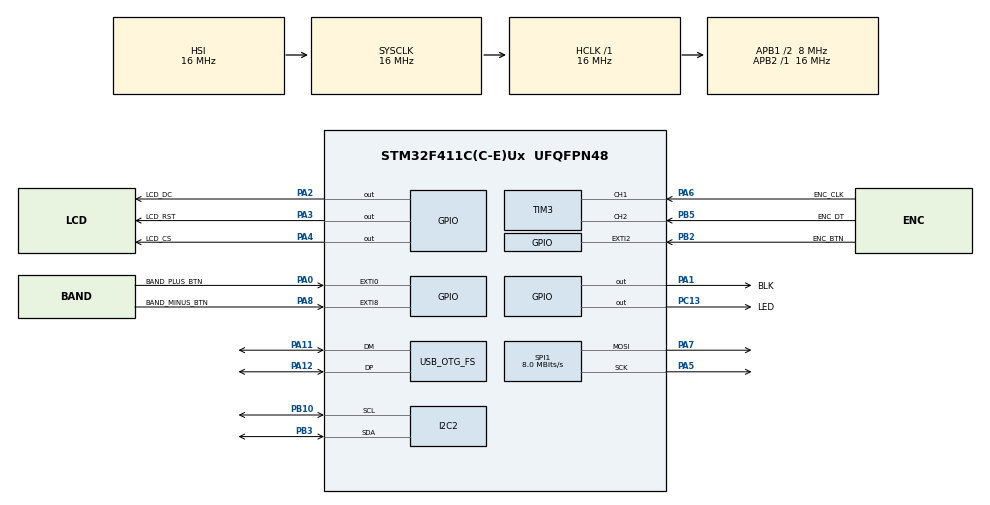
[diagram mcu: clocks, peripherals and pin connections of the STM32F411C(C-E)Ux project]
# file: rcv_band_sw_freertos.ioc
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FREERTOS.INCLUDE_vTaskCleanUpResources=1
FREERTOS.INCLUDE_vTaskDelete=1
FREERTOS.Tasks01=defaultTask,8,128,StartDefaultTask,Default,NULL,Dynamic,NULL,NULL;encoderTask,24,128,StartEncoderTask,Default,NULL,Dynamic,NULL,NULL;buttonsTask,8,128,StartButtonsTask,Default,NULL,Dynamic,NULL,NULL
FREERTOS.configENABLE_FPU=1
FREERTOS.configGENERATE_RUN_TIME_STATS=1
FREERTOS.configTOTAL_HEAP_SIZE=102400
FREERTOS.configUSE_IDLE_HOOK=1
FREERTOS.configUSE_NEWLIB_REENTRANT=1
FREERTOS.configUSE_STATS_FORMATTING_FUNCTIONS=1
I2C2.I2C_Mode=I2C_Fast
Mcu.Family=STM32F4
Mcu.Name=STM32F411C(C-E)Ux
Mcu.Package=UFQFPN48
NVIC.EXTI0_IRQn=true\:5\:0\:false\:false\:true\:false\:true\:true\:true
NVIC.EXTI2_IRQn=true\:5\:0\:false\:false\:true\:true\:true\:true\:true
NVIC.EXTI9_5_IRQn=true\:5\:0\:false\:false\:true\:true\:true\:true\:true
NVIC.OTG_FS_IRQn=true\:5\:0\:false\:false\:true\:true\:false\:true\:true
NVIC.PriorityGroup=NVIC_PRIORITYGROUP_4
NVIC.TIM2_IRQn=true\:15\:0\:false\:false\:true\:false\:false\:true\:true
NVIC.TIM3_IRQn=true\:5\:0\:false\:false\:true\:true\:true\:true\:true
NVIC.TimeBase=TIM2_IRQn
NVIC.TimeBaseIP=TIM2
PA0-WKUP.GPIO_Label=BAND_PLUS_BTN
PA0-WKUP.GPIO_PuPd=GPIO_PULLUP
PA0-WKUP.Signal=GPXTI0
PA1.GPIO_Label=BLK
PA1.GPIO_PuPd=GPIO_PULLUP
PA1.PinState=GPIO_PIN_SET
PA1.Signal=GPIO_Output
PA11.Mode=Device_Only
PA11.Signal=USB_OTG_FS_DM
PA12.Mode=Device_Only
PA12.Signal=USB_OTG_FS_DP
PA13.Mode=Serial_Wire
PA13.Signal=SYS_JTMS-SWDIO
PA14.Mode=Serial_Wire
PA14.Signal=SYS_JTCK-SWCLK
PA2.GPIO_Label=LCD_DC
PA2.GPIO_Speed=GPIO_SPEED_FREQ_VERY_HIGH
PA2.Signal=GPIO_Output
PA3.GPIO_Label=LCD_RST
PA3.GPIO_Speed=GPIO_SPEED_FREQ_VERY_HIGH
PA3.Signal=GPIO_Output
PA4.GPIO_Label=LCD_CS
PA4.GPIO_Speed=GPIO_SPEED_FREQ_VERY_HIGH
PA4.Signal=GPIO_Output
PA5.Mode=TX_Only_Simplex_Unidirect_Master
PA5.Signal=SPI1_SCK
PA6.GPIO_Label=ENC_CLK
PA6.GPIO_PuPd=GPIO_PULLUP
PA6.GPIO_Speed=GPIO_SPEED_FREQ_VERY_HIGH
PA6.Signal=S_TIM3_CH1
PA7.Mode=TX_Only_Simplex_Unidirect_Master
PA7.Signal=SPI1_MOSI
PA8.GPIO_Label=BAND_MINUS_BTN
PA8.GPIO_PuPd=GPIO_PULLUP
PA8.Signal=GPXTI8
PB10.Mode=I2C
PB10.Signal=I2C2_SCL
PB2.GPIO_Label=ENC_BTN
PB2.GPIO_PuPd=GPIO_PULLUP
PB2.Signal=GPXTI2
PB3.Mode=I2C
PB3.Signal=I2C2_SDA
PB5.GPIO_Label=ENC_DT
PB5.GPIO_PuPd=GPIO_PULLUP
PB5.GPIO_Speed=GPIO_SPEED_FREQ_VERY_HIGH
PB5.Signal=S_TIM3_CH2
PC13-ANTI_TAMP.GPIO_Label=LED
PC13-ANTI_TAMP.GPIO_PuPd=GPIO_PULLDOWN
PC13-ANTI_TAMP.Signal=GPIO_Output
PC14-OSC32_IN.Mode=LSE-External-Oscillator
PC14-OSC32_IN.Signal=RCC_OSC32_IN
PC15-OSC32_OUT.Mode=LSE-External-Oscillator
PC15-OSC32_OUT.Signal=RCC_OSC32_OUT
PH0\ -\ OSC_IN.Mode=HSE-External-Oscillator
PH0\ -\ OSC_IN.Signal=RCC_OSC_IN
PH1\ -\ OSC_OUT.Mode=HSE-External-Oscillator
PH1\ -\ OSC_OUT.Signal=RCC_OSC_OUT
ProjectManager.HeapSize=0x600
ProjectManager.StackSize=0x800
ProjectManager.TargetToolchain=STM32CubeIDE
RCC.48MHZClocksFreq_Value=48000000
RCC.AHBFreq_Value=16000000
RCC.APB1CLKDivider=RCC_HCLK_DIV2
RCC.APB1Freq_Value=8000000
RCC.APB1TimFreq_Value=16000000
RCC.APB2Freq_Value=16000000
RCC.APB2TimFreq_Value=16000000
RCC.CortexFreq_Value=16000000
RCC.HCLKFreq_Value=16000000
RCC.HSE_VALUE=25000000
RCC.HSI_VALUE=16000000
RCC.PLLM=15
RCC.PLLN=144
RCC.PLLP=RCC_PLLP_DIV6
RCC.PLLQ=5
RCC.RCC_RTC_Clock_SourceVirtual=RCC_RTCCLKSOURCE_LSE
RCC.SYSCLKFreq_VALUE=16000000
RCC.VCOOutputFreq_Value=240000000
SH.S_TIM3_CH1.0=TIM3_CH1,Encoder_Interface
SH.S_TIM3_CH2.0=TIM3_CH2,Encoder_Interface
SPI1.BaudRatePrescaler=SPI_BAUDRATEPRESCALER_2
SPI1.CalculateBaudRate=8.0 MBits/s
SPI1.Direction=SPI_DIRECTION_2LINES
SPI1.Mode=SPI_MODE_MASTER
SPI1.VirtualType=VM_MASTER
TIM3.IC1Filter=8
TIM3.IC2Filter=8
USB_DEVICE.APP_RX_DATA_SIZE=512
USB_DEVICE.APP_TX_DATA_SIZE=512
USB_DEVICE.CLASS_NAME_FS=CDC
USB_DEVICE.USBD_DEBUG_LEVEL=2
USB_DEVICE.VirtualMode=Cdc
USB_DEVICE.VirtualModeFS=Cdc_FS
USB_OTG_FS.VirtualMode=Device_Only
VP_FREERTOS_VS_CMSIS_V2.Mode=CMSIS_V2
VP_SYS_VS_tim2.Mode=TIM2
VP_USB_DEVICE_VS_USB_DEVICE_CDC_FS.Mode=CDC_FS
board=custom

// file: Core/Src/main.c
/* USER CODE BEGIN Header */
/**
  ******************************************************************************
  * @file           : main.c
  * @brief          : Main program body
  ******************************************************************************
  * @attention
  *
  * Copyright (c) 2022 STMicroelectronics.
  * All rights reserved.
  *
  * This software is licensed under terms that can be found in the LICENSE file
  * in the root directory of this software component.
  * If no LICENSE file comes with this software, it is provided AS-IS.
  *
  ******************************************************************************
  */
/* USER CODE END Header */
#include "main.h"
#include "cmsis_os.h"
#include "i2c.h"
#include "spi.h"
#include "tim.h"
#include "usb_device.h"
#include "gpio.h"

/* USER CODE BEGIN Includes */
#include <stdio.h>
#include <string.h>
#include "st7735.h"
#include "fonts.h"
#include "usbd_cdc_if.h"
#include "si5351.h"
#include "display.h"
/* USER CODE END Includes */

/* USER CODE BEGIN PTD */
volatile unsigned long ulHighFrequencyTimerTicks;
uint32_t current_freq = 0;
uint16_t current_step = 6;
uint8_t current_band = 1;
/* USER CODE END PTD */

void SystemClock_Config(void);
void MX_FREERTOS_Init(void);

/* USER CODE BEGIN 0 */
void Display_Init() {
    ST7735_Init();
    // Check border
    ST7735_FillScreen(ST7735_COLOR565(40, 80, 130));
    ST7735_WriteString(8, 10, "ShortWave", Font_16x26, ST7735_COLOR565(125, 160, 175), ST7735_COLOR565(40, 80, 130));
    ST7735_WriteString(15, 35, "SDR RECEIVER", Font_11x18, ST7735_COLOR565(125, 160, 175), ST7735_COLOR565(40, 80, 130));
    HAL_Delay(2000);
}

/* USER CODE END 0 */

int main(void)
{

  /* MCU Configuration--------------------------------------------------------*/

  /* Reset of all peripherals, Initializes the Flash interface and the Systick. */
  HAL_Init();

  /* Configure the system clock */
  SystemClock_Config();

  /* Initialize all configured peripherals */
  MX_GPIO_Init();
  MX_TIM3_Init();
  MX_SPI1_Init();
  MX_I2C2_Init();
  /* USER CODE BEGIN 2 */
  MX_USB_DEVICE_Init();
  HAL_TIM_Encoder_Start(&htim3, TIM_CHANNEL_ALL);
  //HAL_TIM_PWM_Start(&htim5, TIM_CHANNEL_2);

  /* Display */
  //setBacklight(100);
  Display_Init();
  /* si5251*/
  si5351_Init(0);
  /* USER CODE END 2 */

  /* Init scheduler */
  osKernelInitialize();  /* Call init function for freertos objects (in freertos.c) */
  MX_FREERTOS_Init();

  /* Start scheduler */
  osKernelStart();

  /* We should never get here as control is now taken by the scheduler */
  /* Infinite loop */
  while (1)
  {

  }
}

void SystemClock_Config(void)
{
  RCC_OscInitTypeDef RCC_OscInitStruct = {0};
  RCC_ClkInitTypeDef RCC_ClkInitStruct = {0};

  /** Configure the main internal regulator output voltage
  */
  __HAL_RCC_PWR_CLK_ENABLE();
  __HAL_PWR_VOLTAGESCALING_CONFIG(PWR_REGULATOR_VOLTAGE_SCALE1);

  /** Initializes the RCC Oscillators according to the specified parameters
  * in the RCC_OscInitTypeDef structure.
  */
  RCC_OscInitStruct.OscillatorType = RCC_OSCILLATORTYPE_HSI|RCC_OSCILLATORTYPE_HSE;
  RCC_OscInitStruct.HSEState = RCC_HSE_ON;
  RCC_OscInitStruct.HSIState = RCC_HSI_ON;
  RCC_OscInitStruct.HSICalibrationValue = RCC_HSICALIBRATION_DEFAULT;
  RCC_OscInitStruct.PLL.PLLState = RCC_PLL_ON;
  RCC_OscInitStruct.PLL.PLLSource = RCC_PLLSOURCE_HSE;
  RCC_OscInitStruct.PLL.PLLM = 15;
  RCC_OscInitStruct.PLL.PLLN = 144;
  RCC_OscInitStruct.PLL.PLLP = RCC_PLLP_DIV6;
  RCC_OscInitStruct.PLL.PLLQ = 5;
  if (HAL_RCC_OscConfig(&RCC_OscInitStruct) != HAL_OK)
  {
    Error_Handler();
  }

  /** Initializes the CPU, AHB and APB buses clocks
  */
  RCC_ClkInitStruct.ClockType = RCC_CLOCKTYPE_HCLK|RCC_CLOCKTYPE_SYSCLK
                              |RCC_CLOCKTYPE_PCLK1|RCC_CLOCKTYPE_PCLK2;
  RCC_ClkInitStruct.SYSCLKSource = RCC_SYSCLKSOURCE_HSI;
  RCC_ClkInitStruct.AHBCLKDivider = RCC_SYSCLK_DIV1;
  RCC_ClkInitStruct.APB1CLKDivider = RCC_HCLK_DIV2;
  RCC_ClkInitStruct.APB2CLKDivider = RCC_HCLK_DIV1;

  if (HAL_RCC_ClockConfig(&RCC_ClkInitStruct, FLASH_LATENCY_0) != HAL_OK)
  {
    Error_Handler();
  }
}

/* USER CODE BEGIN 4 */
int _write(int file, uint8_t *ptr, int len) {
    static uint8_t rc = USBD_OK;

    do {
        rc = CDC_Transmit_FS(ptr, len);
    } while (USBD_BUSY == rc);

    if (USBD_FAIL == rc) {
        /// NOTE: Should never reach here.
        /// TODO: Handle this error.
        return 0;
    }
    return len;
}
/* USER CODE END 4 */

void HAL_TIM_PeriodElapsedCallback(TIM_HandleTypeDef *htim)
{
  /* USER CODE BEGIN Callback 0 */
  if (htim->Instance == TIM1) {

  }
  /* USER CODE END Callback 0 */
  if (htim->Instance == TIM2) {
    HAL_IncTick();
  }
}

void Error_Handler(void)
{
  /* USER CODE BEGIN Error_Handler_Debug */
  /* User can add his own implementation to report the HAL error return state */
  __disable_irq();
  while (1)
  {
	  printf("Error_Handler");
  }
  /* USER CODE END Error_Handler_Debug */
}

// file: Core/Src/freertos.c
/* USER CODE BEGIN Header */
/**
 ******************************************************************************
 * File Name          : freertos.c
 * Description        : Code for freertos applications
 ******************************************************************************
 * @attention
 *
 * Copyright (c) 2022 STMicroelectronics.
 * All rights reserved.
 *
 * This software is licensed under terms that can be found in the LICENSE file
 * in the root directory of this software component.
 * If no LICENSE file comes with this software, it is provided AS-IS.
 *
 ******************************************************************************
 */
/* USER CODE END Header */

#include "FreeRTOS.h"
#include "task.h"
#include "main.h"
#include "cmsis_os.h"

/* USER CODE BEGIN Includes */
#include <string.h>
#include "st7735.h"
#include "fonts.h"
#include "tim.h"
#include "display.h"
#include "usbd_cdc_if.h"
#include "si5351.h"
/* USER CODE END Includes */

/* USER CODE BEGIN PD */
#define f_multiplier 4
/* USER CODE END PD */

/* USER CODE BEGIN Variables */
extern volatile uint8_t buttonPressed[5];
uint8_t buttonNumber = 0;
/* Band */
uint32_t max_freq;
uint32_t min_freq;
/* USER CODE END Variables */
/* Definitions for defaultTask */
osThreadId_t defaultTaskHandle;
const osThreadAttr_t defaultTask_attributes = {
  .name = "defaultTask",
  .stack_size = 128 * 4,
  .priority = (osPriority_t) osPriorityLow,
};
/* Definitions for encoderTask */
osThreadId_t encoderTaskHandle;
const osThreadAttr_t encoderTask_attributes = {
  .name = "encoderTask",
  .stack_size = 128 * 4,
  .priority = (osPriority_t) osPriorityNormal,
};
/* Definitions for buttonsTask */
osThreadId_t buttonsTaskHandle;
const osThreadAttr_t buttonsTask_attributes = {
  .name = "buttonsTask",
  .stack_size = 128 * 4,
  .priority = (osPriority_t) osPriorityLow,
};

/* USER CODE BEGIN FunctionPrototypes */
uint32_t hsl_to_rgb(uint8_t h, uint8_t s, uint8_t l);
extern volatile unsigned long ulHighFrequencyTimerTicks;
/* USER CODE END FunctionPrototypes */

void StartDefaultTask(void *argument);
void StartEncoderTask(void *argument);
void StartButtonsTask(void *argument);

extern void MX_USB_DEVICE_Init(void);
void MX_FREERTOS_Init(void); /* (MISRA C 2004 rule 8.1) */

/* Hook prototypes */
void configureTimerForRunTimeStats(void);
unsigned long getRunTimeCounterValue(void);
void vApplicationIdleHook(void);

/* USER CODE BEGIN 1 */
/* Functions needed when configGENERATE_RUN_TIME_STATS is on */
__weak void configureTimerForRunTimeStats(void) {
	//ulHighFrequencyTimerTicks = 0UL;
}

__weak unsigned long getRunTimeCounterValue(void) {
	return ulHighFrequencyTimerTicks;
}

typedef struct {
	const char *name;
	const uint16_t *step; // Min. frequency value for the band (unit 0.01Hz)
} Step;

Step step[8] = {
		{ " 1Hz ", 1 }, // Step
		{ " 10Hz", 10 },
		{ "100Hz", 100 },
		{ "500Hz", 500 },
		{ " 1kHz", 1000 },
		{ " 5kHz", 5000 },
		{ "10kHz", 10000 },
		{ "100k", 10000 }
};
const int lastStep = (sizeof step / sizeof(Step)) - 1;

typedef struct {
	const char *name;
	const uint32_t *minFreq; // Min. frequency value for the band (unit 0.01Hz)
	const uint32_t *maxFreq; // Max. frequency value for the band (unit 0.01Hz)
} Band;

Band band[20] = {
		{"LMW", 100000, 1700000},
		{"SW1", 1700000, 3500000},
		{"SW2", 3500000, 4000000},
		{"SW3", 4000000, 7000000},
		{"40m", 7000000, 7300000},
		{"41m", 7300000, 9000000},
		{"31m", 9000000, 10000000},
		{"30m", 10000000, 11000000},
		{"25m", 11000000, 14000000},
		{"20m", 14000000, 14350000},
		{"19m", 15000000, 17000000},
		{"16m", 17000000, 18000000},
		{"15m", 18000000, 20000000},
		{"13m", 20000000, 21350000},
		{"SW14", 21350000, 22000000},
		{"SW15", 22350000, 24980000},
		{"12m", 24880000, 24990000},
		{"SW17", 24990000, 26000000},
		{"SW18", 26000000, 28000000},
		{"10m", 28000000, 30000000}
};
const int lastBand = (sizeof band / sizeof(Band)) - 1;
extern uint32_t current_freq;
extern uint16_t current_step;
extern uint8_t current_band;
/* USER CODE END 1 */

/* USER CODE BEGIN 2 */
void vApplicationIdleHook(void) {
	/* vApplicationIdleHook() will only be called if configUSE_IDLE_HOOK is set
	 to 1 in FreeRTOSConfig.h. It will be called on each iteration of the idle
	 task. It is essential that code added to this hook function never attempts
	 to block in any way (for example, call xQueueReceive() with a block time
	 specified, or call vTaskDelay()). If the application makes use of the
	 vTaskDelete() API function (as this demo application does) then it is also
	 important that vApplicationIdleHook() is permitted to return to its calling
	 function, because it is the responsibility of the idle task to clean up
	 memory allocated by the kernel to any task that has since been deleted. */
	//vTaskList(taskListStatus);
}

/* USER CODE END 2 */

void MX_FREERTOS_Init(void) {

  /* Create the thread(s) */
  /* creation of defaultTask */
  defaultTaskHandle = osThreadNew(StartDefaultTask, NULL, &defaultTask_attributes);

  /* creation of encoderTask */
  encoderTaskHandle = osThreadNew(StartEncoderTask, NULL, &encoderTask_attributes);

  /* creation of buttonsTask */
  buttonsTaskHandle = osThreadNew(StartButtonsTask, NULL, &buttonsTask_attributes);

}

void StartDefaultTask(void *argument)
{
  /* init code for USB_DEVICE */
  MX_USB_DEVICE_Init();
  /* USER CODE BEGIN StartDefaultTask */
	/* Infinite loop */
	current_freq = band[current_band].minFreq;
	si5351_SetupCLK0(current_freq * f_multiplier, SI5351_DRIVE_STRENGTH_8MA);
	si5351_EnableOutputs(1 << 0);
	/* Timer*/
	for (;;) {
		//HAL_GPIO_TogglePin(GPIOC, GPIO_PIN_13);
		osDelay(250);
	}
  /* USER CODE END StartDefaultTask */
}

void StartEncoderTask(void *argument)
{
  /* USER CODE BEGIN StartEncoderTask */
	/* Infinite loop */

	int32_t prevCounter = 0;
	/*  */
	max_freq = band[current_band].maxFreq;
	min_freq = band[current_band].minFreq;
	current_freq = min_freq;
	/* */
	//ST7735_FillScreenFast(ST7735_BLACK);
	displayBackgrounds();
	displayBand(band[current_band].name);
	displayStep(step[current_step].name);
	displayFrequency(current_freq);
	/* */
	for (;;) {
		int currCounter = __HAL_TIM_GET_COUNTER(&htim3);
		uint16_t step_value = step[current_step].step;
		currCounter = 32767 - ((currCounter - 1) & 0xFFFF) / 2;

		if (currCounter != prevCounter) {
			if (currCounter > prevCounter) {
				if (current_freq != min_freq) {
					current_freq -= step_value;
				} else {
					current_freq = max_freq;
				}
				si5351_SetupCLK0(current_freq * f_multiplier, SI5351_DRIVE_STRENGTH_4MA);
				displayFrequency(current_freq);
				osDelay(5);
			} else if (currCounter < prevCounter) {
				if (current_freq != max_freq) {
					current_freq += step_value;
				} else {
					current_freq = min_freq;
				}
				si5351_SetupCLK0(current_freq * f_multiplier, SI5351_DRIVE_STRENGTH_4MA);
				displayFrequency(current_freq);
				osDelay(5);
			} else {

			}
			prevCounter = currCounter;
		}

		osDelay(5);
	}
  /* USER CODE END StartEncoderTask */
}

void StartButtonsTask(void *argument)
{
  /* USER CODE BEGIN StartButtonsTask */
	/* Infinite loop */
	for (;;) {
		/* BUTTON */
		//printf("Step %d\n\r", current_step);
		if (buttonPressed[buttonNumber]) {
			buttonPressed[buttonNumber] = 0;
			if (buttonNumber == 0) {
				if (current_step != lastStep) {
					current_step++;
					displayStep(step[current_step].name);
				} else {
					current_step = 0;
					displayStep(step[current_step].name);
				}
			}
			if (buttonNumber == 1) {
				HAL_GPIO_TogglePin(GPIOC, GPIO_PIN_13);
				if (current_band != lastBand) {
					current_band++;
					displayBand(band[current_band].name);
					max_freq = band[current_band].maxFreq;
					min_freq = band[current_band].minFreq;
					current_freq = min_freq;
					displayFrequency(current_freq);
					si5351_SetupCLK0(current_freq * f_multiplier, SI5351_DRIVE_STRENGTH_4MA);
				} else {
					current_band = 0;
					displayBand(band[current_band].name);
					max_freq = band[current_band].maxFreq;
					min_freq = band[current_band].minFreq;
					current_freq = min_freq;
					displayFrequency(current_freq);
					si5351_SetupCLK0(current_freq * f_multiplier, SI5351_DRIVE_STRENGTH_4MA);
				}
			}
			if (buttonNumber == 2) {
							HAL_GPIO_TogglePin(GPIOC, GPIO_PIN_13);
							if (current_band != 0) {
								current_band--;
								displayBand(band[current_band].name);
								max_freq = band[current_band].maxFreq;
								min_freq = band[current_band].minFreq;
								current_freq = min_freq;
								displayFrequency(current_freq);
								si5351_SetupCLK0(current_freq * f_multiplier, SI5351_DRIVE_STRENGTH_4MA);
							} else {
								current_band = lastBand;
								displayBand(band[current_band].name);
								max_freq = band[current_band].maxFreq;
								min_freq = band[current_band].minFreq;
								current_freq = min_freq;
								displayFrequency(current_freq);
								si5351_SetupCLK0(current_freq * f_multiplier, SI5351_DRIVE_STRENGTH_4MA);
							}
						}
		}
		osDelay(1);
	}
  /* USER CODE END StartButtonsTask */
}

/* USER CODE BEGIN Application */
// Fast hsl2rgb algorithm: https://stackoverflow.com/questions/13105185/fast-algorithm-for-rgb-hsl-conversion
uint32_t hsl_to_rgb(uint8_t h, uint8_t s, uint8_t l) {
	if (l == 0)
		return 0;

	volatile uint8_t r, g, b, lo, c, x, m;
	volatile uint16_t h1, l1, H;
	l1 = l + 1;
	if (l < 128)
		c = ((l1 << 1) * s) >> 8;
	else
		c = (512 - (l1 << 1)) * s >> 8;

	H = h * 6;              // 0 to 1535 (actually 1530)
	lo = H & 255;           // Low byte  = primary/secondary color mix
	h1 = lo + 1;

	if ((H & 256) == 0)
		x = h1 * c >> 8;          // even sextant, like red to yellow
	else
		x = (256 - h1) * c >> 8;  // odd sextant, like yellow to green

	m = l - (c >> 1);
	switch (H >> 8) {       // High byte = sextant of colorwheel
	case 0:
		r = c;
		g = x;
		b = 0;
		break; // R to Y
	case 1:
		r = x;
		g = c;
		b = 0;
		break; // Y to G
	case 2:
		r = 0;
		g = c;
		b = x;
		break; // G to C
	case 3:
		r = 0;
		g = x;
		b = c;
		break; // C to B
	case 4:
		r = x;
		g = 0;
		b = c;
		break; // B to M
	default:
		r = c;
		g = 0;
		b = x;
		break; // M to R
	}

	return (((uint32_t) r + m) << 16) | (((uint32_t) g + m) << 8)
			| ((uint32_t) b + m);
}

/* USER CODE END Application */
